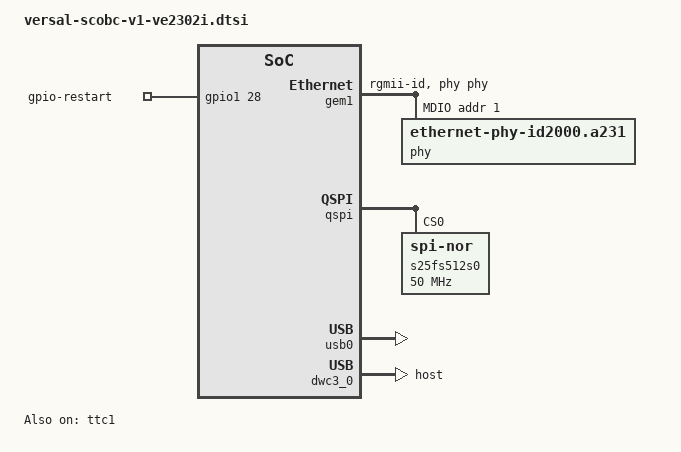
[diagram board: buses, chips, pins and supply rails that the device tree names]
// SPDX-License-Identifier: GPL-2.0

//#include <dt-bindings/net/ti-dp83867.h>

/ {
	chosen {
		bootargs = "console=ttyAMA0,115200";
	};

	gpio-restart {
		compatible = "gpio-restart";
		gpios = <&gpio1 28 0>;
		active-delay = <2000>; /* Assert reset pin for 2000 ms */
		priority = <130>; /* 1 Higher than PSCI reset(129) */
	};
};

&gem1 {
	status = "okay";
	iommus = <&smmu 0x235>;
	phy-handle = <&phy>;
	phy-mode = "rgmii-id";

	mdio: mdio {
		#address-cells = <1>;
		#size-cells = <0>;
		phy: ethernet-phy@1 {
			compatible = "ethernet-phy-id2000.a231";
			reg = <1>;
			ti,rx-internal-delay = <0x6>; //<DP83867_RGMIIDCTL_1_75_NS>;
			ti,tx-internal-delay = <0x6>; //<DP83867_RGMIIDCTL_1_75_NS>;
		};
	};
};

&qspi {
	status = "okay";

	s25fs512s0: flash@0 {
		#address-cells = <1>;
		#size-cells = <1>;
		compatible = "jedec,spi-nor";
		spi-max-frequency = <50000000>;
		reg = <0>;
	};
};

&usb0 {
        status = "okay";
};

&dwc3_0 {
        status = "okay";
        dr_mode = "host";
        maximum-speed = "high-speed";
        snps,dis_u2_susphy_quirk;
        snps,dis_u3_susphy_quirk;
        snps,usb3_lpm_capable;
};

&serial1 {
	/* Used by RPU */
	status = "disabled";
};


&ttc0 {
	/* Used by RPU */
	status = "disabled";
};

&ttc1 {
	/* Used by others */
	status = "okay";
};
